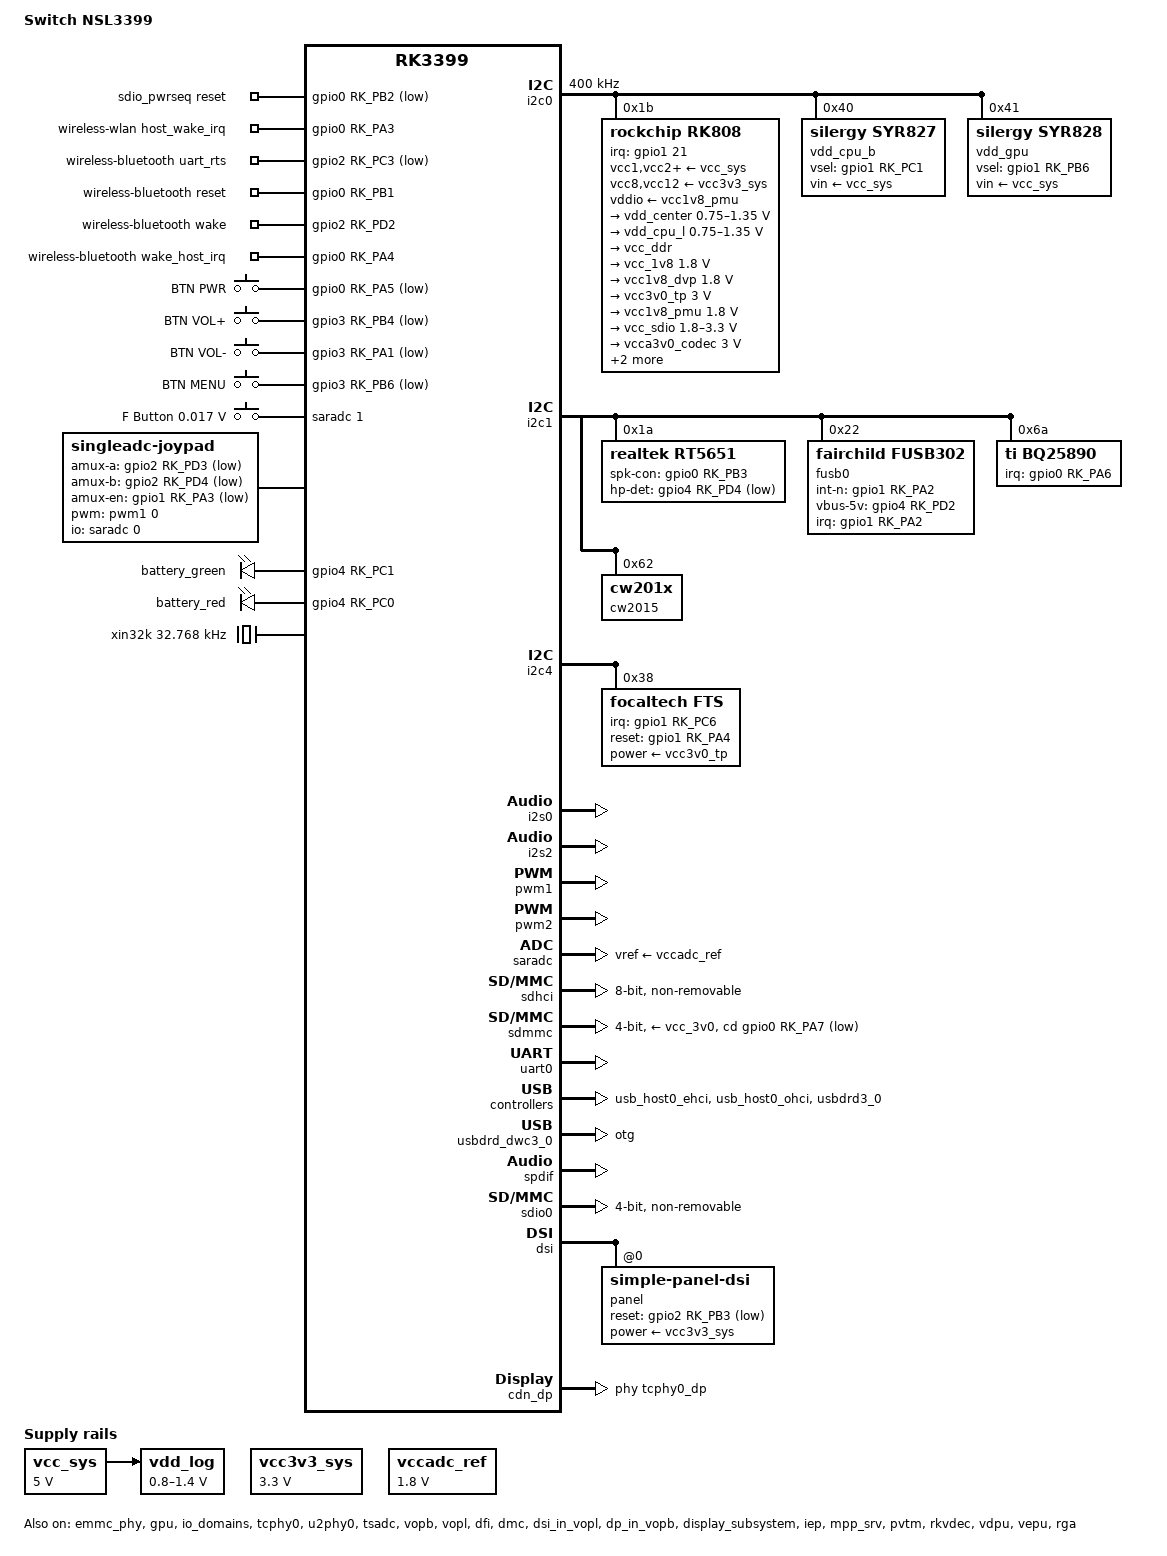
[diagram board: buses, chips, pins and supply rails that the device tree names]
// SPDX-License-Identifier: (GPL-2.0+ OR MIT)
/*
 * Copyright (c) 2017 Fuzhou Rockchip Electronics Co., Ltd.
 * Copyright (c) 2018 Akash Gajjar <Akash_Gajjar@mentor.com>
 * Copyright (c) 2022 Maya Matuszczyk <maccraft123mc@gmail.com>
 */


/dts-v1/;
#include <dt-bindings/soc/rockchip-io-domain.h>
#include <dt-bindings/pwm/pwm.h>
#include <dt-bindings/input/input.h>
#include "rk3399.dtsi"
#include "rk3399-linux.dtsi"
#include "rk3399-opp.dtsi"

/ {
	model = "Switch NSL3399";
	compatible = "Switch,nsl3399", "rockchip,rk3399";

	aliases {
		mmc0 = &sdmmc;
		mmc1 = &sdhci;
	};

	chosen {
		bootargs = "earlycon=uart8250,mmio32,0xff1a0000 console=ttyFIQ0 coherent_pool=1m";
	};

	ramoops_mem: ramoops_mem {
		reg = <0x0 0x110000 0x0 0xf0000>;
		reg-names = "ramoops_mem";
	};

	ramoops {
		compatible = "ramoops";
		record-size = <0x0 0x20000>;
		console-size = <0x0 0x80000>;
		ftrace-size = <0x0 0x00000>;
		pmsg-size = <0x0 0x50000>;
		memory-region = <&ramoops_mem>;
	};

	reserved-memory {
		#address-cells = <2>;
		#size-cells = <2>;
		ranges;

		drm_logo: drm-logo@00000000 {
			compatible = "rockchip,drm-logo";
			reg = <0x0 0x0 0x0 0x0>;
		};

		stb_devinfo: stb-devinfo@00000000 {
			compatible = "rockchip,stb-devinfo";
			reg = <0x0 0x0 0x0 0x0>;
		};
	};

	fiq_debugger: fiq-debugger {
		compatible = "rockchip,fiq-debugger";
		rockchip,serial-id = <2>;
		rockchip,signal-irq = <182>;
		rockchip,wake-irq = <0>;
		rockchip,irq-mode-enable = <1>;  /* If enable uart uses irq instead of fiq */
		rockchip,baudrate = <1500000>;  /* Only 115200 and 1500000 */
		pinctrl-names = "default";
		pinctrl-0 = <&uart2c_xfer>;
		status = "okay";
	};

	rga: rga@ff680000 {
		compatible = "rockchip,rga2";
		dev_mode = <1>;
		reg = <0x0 0xff680000 0x0 0x1000>;
		interrupts = <GIC_SPI 55 IRQ_TYPE_LEVEL_HIGH 0>;
		clocks = <&cru ACLK_RGA>, <&cru HCLK_RGA>, <&cru SCLK_RGA_CORE>;
		clock-names = "aclk_rga", "hclk_rga", "clk_rga";
		power-domains = <&power RK3399_PD_RGA>;
		status = "okay";
	};

	sdio_pwrseq: sdio-pwrseq {
		compatible = "mmc-pwrseq-simple";
		clocks = <&rk808 1>;
		clock-names = "ext_clock";
		pinctrl-names = "default";
		pinctrl-0 = <&wifi_enable_h>;

		/*
		 * On the module itself this is one of these (depending
		 * on the actual card populated):
		 * - SDIO_RESET_L_WL_REG_ON
		 * - PDN (power down when low)
		 */
		reset-gpios = <&gpio0 RK_PB2 GPIO_ACTIVE_LOW>; /* GPIO0_B2 */
	};

	wireless-wlan {
		compatible = "wlan-platdata";
		rockchip,grf = <&grf>;
		wifi_chip_type = "ap6354";
		sdio_vref = <1800>;
		WIFI,host_wake_irq = <&gpio0 RK_PA3 GPIO_ACTIVE_HIGH>; /* GPIO0_a3 */
		status = "okay";
	};

	wireless-bluetooth {
		compatible = "bluetooth-platdata";
		clocks = <&rk808 1>;
		clock-names = "ext_clock";
		//wifi-bt-power-toggle;
		uart_rts_gpios = <&gpio2 RK_PC3 GPIO_ACTIVE_LOW>; /* GPIO2_C3 */
		pinctrl-names = "default", "rts_gpio";
		pinctrl-0 = <&uart0_rts>;
		pinctrl-1 = <&uart0_gpios>;
		//BT,power_gpio  = <&gpio3 RK_PC0 GPIO_ACTIVE_HIGH>; /* GPIOx_xx */
		BT,reset_gpio    = <&gpio0 RK_PB1 GPIO_ACTIVE_HIGH>; /* GPIO0_B1 */
		BT,wake_gpio     = <&gpio2 RK_PD2 GPIO_ACTIVE_HIGH>; /* GPIO2_D2 */
		BT,wake_host_irq = <&gpio0 RK_PA4 GPIO_ACTIVE_HIGH>; /* GPIO0_A4 */
		status = "okay";
	};

	dp_sound: dp-sound {
		status = "okay";
		compatible = "rockchip,cdndp-sound";
		rockchip,cpu = <&spdif>;
		rockchip,codec = <&cdn_dp 1>;
	};

	sound-ext-card {
		status = "disabled";
	};

	/* first 64k(0xff8c0000~0xff8d0000) for ddr and suspend */
	iram: sram@ff8d0000 {
		compatible = "mmio-sram";
		reg = <0x0 0xff8d0000 0x0 0x20000>; /* 128k */
	};

	volume-keys {
		compatible = "gpio-keys";
		autorepeat;
		pinctrl-names = "default";
		pinctrl-0 = <&vol_pwr_btn>;

		sw1 {
			debounce-interval = <100>;
			gpios = <&gpio0 RK_PA5 GPIO_ACTIVE_LOW>;
			label = "BTN PWR";
			linux,code = <KEY_POWER>;
			wakeup-source;
		};
		sw2 {
			label = "BTN VOL+";
			linux,code = <KEY_VOLUMEUP>;
			gpios = <&gpio3 RK_PB4 GPIO_ACTIVE_LOW>;
		};
		sw3 {
			label = "BTN VOL-";
			linux,code = <KEY_VOLUMEDOWN>;
			gpios = <&gpio3 RK_PA1 GPIO_ACTIVE_LOW>;
		};
		sw4 {
			label = "BTN MENU";
			linux,code = <KEY_MENU>;
			gpios = <&gpio3 RK_PB6 GPIO_ACTIVE_LOW>;
		};
	};

	adc-keys {
		compatible = "adc-keys";
		io-channels = <&saradc 1>;
		io-channel-names = "buttons";
		keyup-threshold-microvolt = <1800000>;
		poll-interval = <100>;

		home-key {
			linux,code = <BTN_MODE>;
			label = "F Button";
			press-threshold-microvolt = <17000>;
		};
	};

	joypad: singleadc-joypad {
		compatible = "singleadc-joypad";

		pwms = <&pwm1 0 200000000 0>;
		pwm-names = "enable";
		rumble-boost-weak = <0x0000>;
		rumble-boost-strong = <0x0000>;

		joypad-name = "retrogame_joypad";
		joypad-product = <0x1101>;
		joypad-revision = <0x0100>;

		status = "okay";

		/* gpio pincontrol setup */
		pinctrl-names = "default";
		pinctrl-0 = <&btn_pins>;

		/* Analog mux define */
		io-channel-names = "amux_adc";
		io-channels = <&saradc 0>;

		/* adc mux channel count */
		amux-count = <4>;
		/* adc mux select(a,b) gpio */
		amux-a-gpios = <&gpio2 RK_PD3 GPIO_ACTIVE_LOW>;
		amux-b-gpios = <&gpio2 RK_PD4 GPIO_ACTIVE_LOW>;
		/* adc mux enable gpio */
		amux-en-gpios = <&gpio1 RK_PA3 GPIO_ACTIVE_LOW>;

		/* adc calculate scale */
		button-adc-scale = <2>;

		/* adc deadzone range  */
		button-adc-deadzone = <64>;

		/*
		  specifies fuzz value that is used to filter noise from
		  the event stream.
		*/
		button-adc-fuzz = <32>;
		button-adc-flat = <32>;

		/*
		  Analog Stick data tuning value(precent)
		  p = positive direction, n = negative direction
		  report value = (real_adc_data * tuning_value) / 100
		*/
		abs_x-p-tuning = <300>;
		abs_x-n-tuning = <300>;

		abs_y-p-tuning = <300>;
		abs_y-n-tuning = <300>;

		abs_rx-p-tuning = <300>;
		abs_rx-n-tuning = <300>;

		abs_ry-p-tuning = <300>;
		abs_ry-n-tuning = <300>;

		/* poll device interval (ms), adc read interval */
		poll-interval = <10>;

		/* required for SW3399(invert) */
		invert-absx;
		invert-absy;

		/* gpio button auto repeat set value : default disable */
		/*
			autorepeat;
		*/
		sw1 {
		        gpios = <&gpio3 RK_PB0 GPIO_ACTIVE_LOW>;
		        label = "GPIO DPAD-UP";
		        linux,code = <BTN_DPAD_UP>;
		};
		sw2 {
		        gpios = <&gpio3 RK_PB2 GPIO_ACTIVE_LOW>;
		        label = "GPIO DPAD-DOWN";
		        linux,code = <BTN_DPAD_DOWN>;
		};
		sw3 {
		        gpios = <&gpio3 RK_PC1 GPIO_ACTIVE_LOW>;
		        label = "GPIO DPAD-LEFT";
		        linux,code = <BTN_DPAD_LEFT>;
		};
		sw4 {
		        gpios = <&gpio3 RK_PB7 GPIO_ACTIVE_LOW>;
		        label = "GPIO DPAD-RIGHT";
		        linux,code = <BTN_DPAD_RIGHT>;
		};
		sw5 {
		        gpios = <&gpio3 RK_PB1 GPIO_ACTIVE_LOW>;
		        label = "GPIO KEY BTN-A";
		        linux,code = <BTN_EAST>;
		};
		sw6 {
		        gpios = <&gpio3 RK_PA2 GPIO_ACTIVE_LOW>;
		        label = "GPIO BTN-B";
		        linux,code = <BTN_SOUTH>;
		};
		sw7 {
		        gpios = <&gpio3 RK_PA6 GPIO_ACTIVE_LOW>;
		        label = "GPIO BTN-X";
		        linux,code = <BTN_NORTH>;
		};
		sw8 {
		        gpios = <&gpio3 RK_PA7 GPIO_ACTIVE_LOW>;
		        label = "GPIO BTN-Y";
		        linux,code = <BTN_WEST>;
		};
		sw9 {
		        gpios = <&gpio3 RK_PA4 GPIO_ACTIVE_LOW>;
		        label = "GPIO BTN_SELECT";
		        linux,code = <BTN_SELECT>;
		};
		sw10 {
		        gpios = <&gpio4 RK_PD1 GPIO_ACTIVE_LOW>;
		        label = "GPIO BTN_START";
		        linux,code = <BTN_START>;
		};
		sw11 {
		        gpios = <&gpio3 RK_PA0 GPIO_ACTIVE_LOW>;
		        label = "GPIO BTN_TL";
		        linux,code = <BTN_TL>;
		};
		sw12 {
		        gpios = <&gpio3 RK_PB3 GPIO_ACTIVE_LOW>;
		        label = "GPIO BTN_TR";
		        linux,code = <BTN_TR>;
		};
		sw13 {
		        gpios = <&gpio3 RK_PA5 GPIO_ACTIVE_LOW>;
		        label = "GPIO BTN_TL2";
		        linux,code = <BTN_TL2>;
		};
		sw14 {
		        gpios = <&gpio3 RK_PC0 GPIO_ACTIVE_LOW>;
		        label = "GPIO BTN_TR2";
		        linux,code = <BTN_TR2>;
		};
		sw15 {
		        gpios = <&gpio1 RK_PC2 GPIO_ACTIVE_LOW>;
		        label = "GPIO BTN_THUMBL";
		        linux,code = <BTN_THUMBL>;
		};
		sw16 {
		        gpios = <&gpio0 RK_PA1 GPIO_ACTIVE_LOW>;
		        label = "GPIO BTN_THUMBR";
		        linux,code = <BTN_THUMBR>;
		};
	};

	leds: gpio-leds {
			compatible = "gpio-leds";
			pinctrl-names = "default";
			pinctrl-0 =<&leds_gpio>;

			led@1 {
					gpios = <&gpio4 RK_PC1 GPIO_ACTIVE_HIGH>;
					label = "battery_green";
					default-state= "on";
				//	retain-state-suspended;
			};

			led@2 {
					gpios = <&gpio4 RK_PC0 GPIO_ACTIVE_HIGH>;
					label = "battery_red";
				//	retain-state-suspended;
			};

	};
	
	rt5651-sound {
		compatible = "simple-audio-card";
		simple-audio-card,name = "rockchip,rt5651-codec";
		simple-audio-card,format = "i2s";
		simple-audio-card,mclk-fs = <256>;

		simple-audio-card,widgets =
			"Microphone", "Mic Jack",
			"Headphone", "Headphones";
		simple-audio-card,routing =
			"Mic Jack", "MICBIAS1",
			"IN1P", "Mic Jack",
			"Headphone Jack", "HPOL",
			"Headphone Jack", "HPOR";
		simple-audio-card,cpu {
			sound-dai = <&i2s0>;
		};
		simple-audio-card,codec {
			sound-dai = <&rt5651>;
		};
	};

	xin32k: xin32k {
		compatible = "fixed-clock";
		clock-frequency = <32768>;
		clock-output-names = "xin32k";
		#clock-cells = <0>;
	};

	vcc_sys: vcc5v0-sys {
		compatible = "regulator-fixed";
		regulator-name = "vcc_sys";
		regulator-always-on;
		regulator-boot-on;
		regulator-min-microvolt = <5000000>;
		regulator-max-microvolt = <5000000>;
	};

	vcc3v3_sys: vcc3v3-sys {
		compatible = "regulator-fixed";
		regulator-name = "vcc3v3_sys";
		regulator-always-on;
		regulator-boot-on;
		regulator-min-microvolt = <3300000>;
		regulator-max-microvolt = <3300000>;
	};

	vccadc_ref: vccadc-ref {
		compatible = "regulator-fixed";
		regulator-name = "vcc1v8_sys";
		regulator-always-on;
		regulator-boot-on;
		regulator-min-microvolt = <1800000>;
		regulator-max-microvolt = <1800000>;
	};

	vdd_log: vdd-log {
		compatible = "pwm-regulator";
		pwms = <&pwm2 0 25000 1>;
		regulator-name = "vdd_log";
		regulator-always-on;
		regulator-boot-on;
		regulator-min-microvolt = <800000>;
		regulator-max-microvolt = <1400000>;
		vin-supply = <&vcc_sys>;
	};
};

&dmac_bus {
	iram = <&iram>;
	rockchip,force-iram;
};

&cpu_l0 {
	cpu-supply = <&vdd_cpu_l>;
};

&cpu_l1 {
	cpu-supply = <&vdd_cpu_l>;
};

&cpu_l2 {
	cpu-supply = <&vdd_cpu_l>;
};

&cpu_l3 {
	cpu-supply = <&vdd_cpu_l>;
};

&cpu_b0 {
	cpu-supply = <&vdd_cpu_b>;
};

&cpu_b1 {
	cpu-supply = <&vdd_cpu_b>;
};

&emmc_phy {
	status = "okay";
};

&gpu {
	mali-supply = <&vdd_gpu>;
	status = "okay";
};

&i2c0 {
	clock-frequency = <400000>;
	i2c-scl-rising-time-ns = <168>;
	i2c-scl-falling-time-ns = <4>;
	status = "okay";

	rk808: pmic@1b {
		compatible = "rockchip,rk808";
		reg = <0x1b>;
		interrupt-parent = <&gpio1>;
		interrupts = <21 IRQ_TYPE_LEVEL_LOW>;
		#clock-cells = <1>;
		//clock-output-names = "xin32k", "rk808-clkout2";
		clock-output-names = "rk808-clkout1", "rk808-clkout2";  //wifi
		pinctrl-names = "default";
		pinctrl-0 = <&pmic_int_l &pmic_dvs2>;
		rockchip,system-power-controller;
		wakeup-source;

		vcc1-supply = <&vcc_sys>;
		vcc2-supply = <&vcc_sys>;
		vcc3-supply = <&vcc_sys>;
		vcc4-supply = <&vcc_sys>;
		vcc6-supply = <&vcc_sys>;
		vcc7-supply = <&vcc_sys>;
		vcc8-supply = <&vcc3v3_sys>;
		vcc9-supply = <&vcc_sys>;
		vcc10-supply = <&vcc_sys>;
		vcc11-supply = <&vcc_sys>;
		vcc12-supply = <&vcc3v3_sys>;
		vddio-supply = <&vcc1v8_pmu>;

		rtc {
			status = "okay";
		};

		regulators {
			vdd_center: DCDC_REG1 {
				regulator-name = "vdd_center";
				regulator-always-on;
				regulator-boot-on;
				regulator-min-microvolt = <750000>;
				regulator-max-microvolt = <1350000>;
				regulator-ramp-delay = <6001>;
				regulator-state-mem {
					regulator-off-in-suspend;
				};
			};

			vdd_cpu_l: DCDC_REG2 {
				regulator-name = "vdd_cpu_l";
				regulator-always-on;
				regulator-boot-on;
				regulator-min-microvolt = <750000>;
				regulator-max-microvolt = <1350000>;
				regulator-ramp-delay = <6001>;
				regulator-state-mem {
					regulator-off-in-suspend;
				};
			};

			vcc_ddr: DCDC_REG3 {
				regulator-name = "vcc_ddr";
				regulator-always-on;
				regulator-boot-on;
				regulator-state-mem {
					regulator-on-in-suspend;
				};
			};

			vcc_1v8: DCDC_REG4 {
				regulator-name = "vcc_1v8";
				regulator-always-on;
				regulator-boot-on;
				regulator-min-microvolt = <1800000>;
				regulator-max-microvolt = <1800000>;
				regulator-state-mem {
					regulator-on-in-suspend;
					regulator-suspend-microvolt = <1800000>;
				};
			};

			vcc1v8_dvp: LDO_REG1 {
				regulator-name = "vcc1v8_dvp";
				regulator-always-on;
				regulator-boot-on;
				regulator-min-microvolt = <1800000>;
				regulator-max-microvolt = <1800000>;
				regulator-state-mem {
					//regulator-off-in-suspend;
					regulator-on-in-suspend;
					regulator-suspend-microvolt = <1800000>;
				};
			};

			vcc3v0_tp: LDO_REG2 {
				regulator-name = "vcc3v0_tp";
				regulator-always-on;
				regulator-boot-on;
				regulator-min-microvolt = <3000000>;
				regulator-max-microvolt = <3000000>;
				regulator-state-mem {
					regulator-on-in-suspend;
					regulator-suspend-microvolt = <3000000>;
				};
			};

			vcc1v8_pmu: LDO_REG3 {
				regulator-name = "vcc1v8_pmu";
				regulator-always-on;
				regulator-boot-on;
				regulator-min-microvolt = <1800000>;
				regulator-max-microvolt = <1800000>;
				regulator-state-mem {
					regulator-on-in-suspend;
					regulator-suspend-microvolt = <1800000>;
				};
			};

			vcc_sdio: LDO_REG4 {
				regulator-name = "vcc_sdio";
				regulator-always-on;
				regulator-boot-on;
				regulator-min-microvolt = <1800000>;
				regulator-max-microvolt = <3300000>;
				regulator-state-mem {
					regulator-on-in-suspend;
					regulator-suspend-microvolt = <3300000>;
				};
			};

			vcca3v0_codec: LDO_REG5 {
				regulator-name = "vcca3v0_codec";
				regulator-always-on;
				regulator-boot-on;
				regulator-min-microvolt = <3000000>;
				regulator-max-microvolt = <3000000>;
				regulator-state-mem {
					regulator-off-in-suspend;
				};
			};

			vcc_1v5: LDO_REG6 {
				regulator-name = "vcc_1v5";
				regulator-always-on;
				regulator-boot-on;
				regulator-min-microvolt = <1500000>;
				regulator-max-microvolt = <1500000>;
				regulator-state-mem {
					regulator-on-in-suspend;
					regulator-suspend-microvolt = <1500000>;
				};
			};

			vcca1v8_codec: LDO_REG7 {
				regulator-name = "vcca1v8_codec";
				regulator-always-on;
				regulator-boot-on;
				regulator-min-microvolt = <1800000>;
				regulator-max-microvolt = <1800000>;
				regulator-state-mem {
					regulator-off-in-suspend;
				};
			};

			vcc_3v0: LDO_REG8 {
				regulator-name = "vcc_3v0";
				regulator-always-on;
				regulator-boot-on;
				regulator-min-microvolt = <3000000>;
				regulator-max-microvolt = <3000000>;
				regulator-state-mem {
					regulator-on-in-suspend;
					regulator-suspend-microvolt = <3000000>;
				};
			};

			vcc3v3_s3: vcc_lan: SWITCH_REG1 {
				regulator-name = "vcc3v3_s3";
				regulator-always-on;
				regulator-boot-on;
				regulator-state-mem {
					regulator-off-in-suspend;
				};
			};

			vcc3v3_s0: SWITCH_REG2 {
				regulator-name = "vcc3v3_s0";
				regulator-always-on;
				regulator-boot-on;
				regulator-state-mem {
					regulator-off-in-suspend;
				};
			};
		};
	};

    vdd_cpu_b: syr827@40 {
            compatible = "silergy,syr827";
            reg = <0x40>;
            vin-supply = <&vcc_sys>;
            regulator-compatible = "fan53555-reg";
            pinctrl-names = "default";
            pinctrl-0 = <&vsel1_gpio>;
            vsel-gpios = <&gpio1 RK_PC1 GPIO_ACTIVE_HIGH>;
            regulator-name = "vdd_cpu_b";
            regulator-min-microvolt = <712500>;
            regulator-max-microvolt = <1500000>;
            regulator-ramp-delay = <1000>;
            fcs,suspend-voltage-selector = <1>;
            regulator-always-on;
            regulator-boot-on;
            regulator-initial-state = <3>;

            regulator-state-mem {
                regulator-off-in-suspend;
            };
    };

        vdd_gpu: syr828@41 {
				compatible = "silergy,syr828";
				reg = <0x41>;
				vin-supply = <&vcc_sys>;
				regulator-compatible = "fan53555-reg";
				pinctrl-names = "default";
				pinctrl-0 = <&vsel2_gpio>;
				vsel-gpios = <&gpio1 RK_PB6 GPIO_ACTIVE_HIGH>;
				regulator-name = "vdd_gpu";
                regulator-min-microvolt = <712500>;
                regulator-max-microvolt = <1500000>;
                regulator-ramp-delay = <1000>;
                fcs,suspend-voltage-selector = <1>;
                regulator-always-on;
                regulator-boot-on;

				regulator-state-mem {
					regulator-off-in-suspend;
		};
	};

};

&i2c1 {
	status = "okay";

	rt5651: rt5651@1a {
		compatible = "realtek,rt5651";
		status = "okay";
		reg = <0x1a>;
		clocks = <&cru SCLK_I2S_8CH_OUT>;
		clock-names = "mclk";
		spk-con-gpio = <&gpio0 RK_PB3 GPIO_ACTIVE_HIGH>;
		hp-det-gpio = <&gpio4 RK_PD4 GPIO_ACTIVE_LOW>;
		#sound-dai-cells = <0>;
	};

	fusb0: fusb30x@22 {
		compatible = "fairchild,fusb302";
		status = "okay";
		reg = <0x22>;
		interrupt-parent = <&gpio1>;
		interrupts = <RK_PA2 IRQ_TYPE_LEVEL_LOW>;
		pinctrl-names = "default";
		pinctrl-0 = <&fusb0_int>;
		int-n-gpios = <&gpio1 RK_PA2 GPIO_ACTIVE_HIGH>;
		vbus-5v-gpios = <&gpio4 RK_PD2 GPIO_ACTIVE_HIGH>;

		usb_con: connector {
			compatible = "usb-c-connector";
			label = "USB-C";
			data-role = "dual";
			power-role = "dual";
			try-power-role = "sink";
			sink-pdos =
				<PDO_FIXED(5000, 3000, PDO_FIXED_USB_COMM)
				 PDO_FIXED(9000, 3000, PDO_FIXED_USB_COMM)
				 PDO_FIXED(12000, 3000, PDO_FIXED_USB_COMM)>;
			source-pdos =
				<PDO_FIXED(5000, 2400, PDO_FIXED_USB_COMM)>;
			op-sink-microwatt = <1000000>;
			typec-altmodes = <0xff01 1 0x001c0c00 1>;
		};
	};

	bq25890: charger@6a {
		status = "okay";
		compatible = "ti,bq25890";
		reg = <0x6a>;
		extcon = <&fusb0>;

		pinctrl-names = "default";
		pinctrl-0 = <&charger_ok>;
		interrupt-parent = <&gpio0>;
		interrupts = <RK_PA6 IRQ_TYPE_EDGE_FALLING>;

		ti,battery-regulation-voltage = <4200000>; /* 4.2V */
		ti,charge-current = <3000000>; /* 3A */
		ti,termination-current = <50000>;  /* 50mA */
		ti,precharge-current = <130000>; /* 130mA */
		ti,minimum-sys-voltage = <3700000>; /* 3.7V */
		ti,boost-voltage = <5000000>; /* 5V */
		ti,boost-max-current = <2400000>; /* 2400mA */
	};

	cw2015: cw201x@62 {
		status = "okay";
		compatible = "cw201x";
		reg = <0x62>;
		bat_config_info = <
				   0x15 0x7E 0x77 0x6C 0x6A 0x68 0x65 0x63
				   0x61 0x61 0x61 0x5E 0x58 0x52 0x48 0x36
				   0x2E 0x2A 0x2D 0x33 0x3E 0x4A 0x55 0x5F
				   0x64 0x4F 0x06 0x66 0x06 0x0D 0x3A 0x48
				   0x4C 0x4D 0x51 0x52 0x3D 0x19 0x64 0x10
				   0x02 0x14 0x5B 0x84 0x8E 0x90 0x90 0x56
				   0x81 0x8B 0x92 0x92 0x80 0x50 0x8E 0xCB
				   0x2F 0x00 0x64 0xA5 0xB5 0x05 0xC0 0x11
		>;
		monitor_sec = <5>;
		virtual_power = <0>;
		design_capacity = <5800>;
	};

};

&i2c4 {
	i2c-scl-rising-time-ns = <475>;
	i2c-scl-falling-time-ns = <26>;
	status = "okay";

	focaltech@38 {
		status = "okay";
		compatible = "focaltech,fts";
		reg = <0x38>;
		power-supply = <&vcc3v0_tp>;
		pinctrl-names = "default";
		pinctrl-0 = <&touch_gpio>;
		focaltech,irq-gpio = <&gpio1 RK_PC6 IRQ_TYPE_LEVEL_LOW>;
		focaltech,reset-gpio = <&gpio1 RK_PA4 GPIO_ACTIVE_HIGH>;
		focaltech,max-touch-number = <10>;
		focaltech,display-coords =  <0 0 1080 1920>;
		wakeup-source;
	};

};

&i2s0 {
	rockchip,playback-channels = <8>;
	rockchip,capture-channels = <8>;
	status = "okay";
};

&i2s2 {
	status = "okay";
};

&io_domains {
	status = "okay";

	bt656-supply = <&vcc_1v8>;				/* bt656_gpio2ab_ms */
	audio-supply = <&vcca1v8_codec>;		/* audio_gpio3d4a_ms */
	sdmmc-supply = <&vcc_sdio>;				/* sdmmc_gpio4b_ms */
	gpio1830-supply = <&vcc_3v0>;			/* gpio1833_gpio4cd_ms */
};

&pmu_io_domains {
	pmu1830-supply = <&vcc_1v8>;
	status = "okay";
};

&pwm1 {
	status = "okay";
	label = "rumble-pwm";
};

&pwm2 {
	status = "okay";
	pinctrl-names = "active";
	pinctrl-0 = <&pwm2_pin_pull_down>;
};

&saradc {
	vref-supply = <&vccadc_ref>;
	status = "okay";
};

&sdhci {
	bus-width = <8>;
	mmc-hs400-1_8v;
	mmc-hs400-enhanced-strobe;
	non-removable;
	supports-emmc;
	status = "okay";
};

&sdmmc {
	bus-width = <4>;
	cap-mmc-highspeed;
	cap-sd-highspeed;
	supports-sd;
	clock-frequency = <150000000>;
	disable-wp;
	sd-uhs-sdr12;
	sd-uhs-sdr25;
	sd-uhs-sdr50;
	sd-uhs-sdr104;
	supports-emmc;
	max-frequency = <150000000>;
	cd-gpios = <&gpio0 RK_PA7 GPIO_ACTIVE_LOW>;
	pinctrl-names = "default";
	pinctrl-0 = <&sdmmc_clk &sdmmc_cmd &sdmmc_cd &sdmmc_bus4>;
	vmmc-supply = <&vcc_3v0>;
	vqmmc-supply = <&vcc_sdio>;
	status = "okay";
};

&tcphy0 {
	extcon = <&fusb0>, <&rtusb0>;
	status = "okay";
};

&u2phy0 {
	status = "okay";
	extcon = <&fusb0>, <&rtusb0>;

	u2phy0_otg: otg-port {
		status = "okay";
	};

	u2phy0_host: host-port {
		status = "okay";
	};
};

&uart0 {
	pinctrl-names = "default";
	pinctrl-0 = <&uart0_xfer &uart0_cts>;
	status = "okay";
};

&uart2 {
	status = "disabled";
};

&tsadc {
	/* tshut mode 0:CRU 1:GPIO */
	rockchip,hw-tshut-mode = <1>;
	/* tshut polarity 0:LOW 1:HIGH */
	rockchip,hw-tshut-polarity = <1>;
	status = "okay";
};

&usb_host0_ehci {
	status = "okay";
};

&usb_host0_ohci {
	status = "okay";
};

&usbdrd3_0 {
	status = "okay";
};

&usbdrd_dwc3_0 {
	status = "okay";
	dr_mode = "otg";
	extcon = <&fusb0>, <&rtusb0>;
};

&vopb {
	status = "okay";
	assigned-clocks = <&cru DCLK_VOP0_DIV>;
	assigned-clock-parents = <&cru PLL_VPLL>;
};

&vopb_mmu {
	status = "okay";
};

&vopl {
	status = "okay";
	assigned-clocks = <&cru DCLK_VOP1_DIV>;
	assigned-clock-parents = <&cru PLL_CPLL>;
};

&vopl_mmu {
	status = "okay";
};

&dfi {
	status = "okay";
};

&dmc {
	status = "okay";
	center-supply = <&vdd_center>;
	upthreshold = <40>;
	downdifferential = <20>;
	system-status-freq = <
		/*system status         freq(KHz)*/
		SYS_STATUS_NORMAL       856000
		SYS_STATUS_REBOOT       416000
		SYS_STATUS_SUSPEND      416000
		SYS_STATUS_VIDEO_1080P  856000
		SYS_STATUS_VIDEO_4K     856000
		SYS_STATUS_VIDEO_4K_10B 856000
		SYS_STATUS_PERFORMANCE  856000
		SYS_STATUS_BOOST        856000
		SYS_STATUS_DUALVIEW     856000
		SYS_STATUS_ISP          856000
	>;
	vop-bw-dmc-freq = <
	/* min_bw(MB/s) max_bw(MB/s) freq(KHz) */
		0       577      416000
		578     99999    856000
	>;
	vop-pn-msch-readlatency = <
	/* plane_number  readlatency */
		0       0
		4       0x20
	>;
	auto-min-freq = <416000>;
	auto-freq-en = <1>;
};

&dmc_opp_table {
	compatible = "operating-points-v2";

	opp-200000000 {
		opp-hz = /bits/ 64 <200000000>;
		opp-microvolt = <900000>;
		status = "disabled";
	};
	opp-300000000 {
		opp-hz = /bits/ 64 <300000000>;
		opp-microvolt = <900000>;
		status = "disabled";
	};
	opp-400000000 {
		opp-hz = /bits/ 64 <400000000>;
		opp-microvolt = <900000>;
		status = "disabled";
	};
	opp-416000000 {
		opp-hz = /bits/ 64 <416000000>;
		opp-microvolt = <1000000>;
	};
	opp-528000000 {
		opp-hz = /bits/ 64 <528000000>;
		opp-microvolt = <900000>;
		status = "disabled";
	};
	opp-600000000 {
		opp-hz = /bits/ 64 <600000000>;
		opp-microvolt = <900000>;
		status = "disabled";
	};
	opp-800000000 {
		opp-hz = /bits/ 64 <800000000>;
		opp-microvolt = <900000>;
		status = "disabled";
	};
	opp-856000000 {
		opp-hz = /bits/ 64 <856000000>;
		opp-microvolt = <1000000>;
	};
};

&dp_sound {
	status = "okay";
};

&spdif {
	status = "okay";
	pinctrl-0 = <&spdif_bus>;
	i2c-scl-rising-time-ns = <450>;
	i2c-scl-falling-time-ns = <15>;
	#sound-dai-cells = <0>;
};

&saradc {
	status = "okay";
};

&sdio0 {
	max-frequency = <100000000>;
	supports-sdio;
	bus-width = <4>;
	disable-wp;
	cap-sd-highspeed;
	cap-sdio-irq;
	keep-power-in-suspend;
	mmc-pwrseq = <&sdio_pwrseq>;
	non-removable;
	num-slots = <1>;
	pinctrl-names = "default";
	pinctrl-0 = <&sdio0_bus4 &sdio0_cmd &sdio0_clk>;
	sd-uhs-sdr104;
	status = "okay";
};

&rockchip_suspend {
	status = "okay";
	rockchip,sleep-debug-en = <1>;
	rockchip,sleep-mode-config = <
		(0
		| RKPM_SLP_ARMPD
		| RKPM_SLP_PERILPPD
		| RKPM_SLP_DDR_RET
		| RKPM_SLP_PLLPD
		| RKPM_SLP_CENTER_PD
		| RKPM_SLP_AP_PWROFF
		)
		>;
	rockchip,wakeup-config = <
		(0
		| RKPM_GPIO_WKUP_EN
		| RKPM_PWM_WKUP_EN
		| RKPM_USB_WKUP_EN
		| RKPM_USB_LINESTATE_WKUP_EN
		)
		>;
		rockchip,pwm-regulator-config = <
		(0
		| PWM2_REGULATOR_EN
		)
		>;
		rockchip,power-ctrl =
		<&gpio1 17 GPIO_ACTIVE_HIGH>,
		<&gpio1 14 GPIO_ACTIVE_HIGH>;
};

&dsi {
	status = "okay";

	status = "okay";

	panel@0 {
		compatible ="simple-panel-dsi";
		status = "okay";
		reg = <0>;
		power-supply = <&vcc3v3_sys>;
		reset-delay-ms = <20>;
		init-delay-ms = <20>;
		enable-delay-ms = <120>;
		prepare-delay-ms = <120>;
		pinctrl-names = "default";
		pinctrl-0 = <&lcd_reset_gpio>;
		reset-gpios = <&gpio2 RK_PB3 GPIO_ACTIVE_LOW>;
		dsi-lanes = <4>;
		width-mm = <68>;
		height-mm = <121>;

		dsi,flags = <(MIPI_DSI_MODE_VIDEO | MIPI_DSI_MODE_VIDEO_BURST)>;
		dsi,format = <MIPI_DSI_FMT_RGB888>;
		dsi,lanes = <4>;

		display-timings {
			timing {
				clock-frequency = <135000000>;
				hactive = <1080>;
				vactive = <1920>;
				hfront-porch = <26>;
				hsync-len = <2>;
				hback-porch = <36>;
				vfront-porch = <8>;
				vsync-len = <4>;
				vback-porch = <16>;
				hsync-active = <0>;
				vsync-active = <0>;
				de-active = <0>;
				pixelclk-active = <0>;
			};
		};

		panel-init-sequence = [
			15 00 02 FE 0E
			15 00 02 4B 00
			15 00 02 4C 0F
			15 00 02 4D 20
			15 00 02 4E 40
			15 00 02 4F 60
			15 00 02 50 A0
			15 00 02 51 C0
			15 00 02 52 E0
			15 00 02 53 FF

			15 00 02 FE 0D
			15 00 02 18 08
			15 00 02 42 01
			15 00 02 08 41
			15 00 02 46 02
			15 00 02 72 09

			15 00 02 FE 0A
			15 00 02 24 17
			15 00 02 04 07
			15 00 02 1A 0C
			15 00 02 0F 44

			15 00 02 FE 04
			15 00 02 00 0C
			15 00 02 0A E6
			15 00 02 0B 8C
			15 00 02 1A 12
			15 00 02 29 93
			15 00 02 2A 93
			15 00 02 2F 02
			15 00 02 31 02
			15 00 02 33 05
			15 00 02 37 2D
			15 00 02 38 3D
			15 00 02 3A 1E
			15 00 02 3B 1E
			15 00 02 3D 27
			15 00 02 3F 80
			15 00 02 40 40
			15 00 02 41 E0
			15 00 02 4F 3F
			15 00 02 50 1E

			15 00 02 FE 06
			15 00 02 00 CC
			15 00 02 05 05
			15 00 02 07 A2
			15 00 02 08 CC
			15 00 02 0D 03
			15 00 02 0F A2
			15 00 02 32 CC
			15 00 02 37 05
			15 00 02 39 83
			15 00 02 3A CC
			15 00 02 41 04
			15 00 02 43 83
			15 00 02 44 CC
			15 00 02 49 05
			15 00 02 4B A2
			15 00 02 4C CC
			15 00 02 51 03
			15 00 02 4B A2
			15 00 02 4C CC
			15 00 02 51 03
			15 00 02 53 A2
			15 00 02 75 CC
			15 00 02 7A 03
			15 00 02 7C 83
			15 00 02 7D CC
			15 00 02 82 02
			15 00 02 84 83
			15 00 02 85 EC
			15 00 02 86 0F
			15 00 02 87 FF
			15 00 02 88 00
			15 00 02 8A 02
			15 00 02 8C A2
			15 00 02 8D EA
			15 00 02 8E 01
			15 00 02 8F E8
			15 00 02 90 0A
			15 00 02 92 06
			15 00 02 93 A0
			15 00 02 94 A8
			15 00 02 95 EC
			15 00 02 96 0F
			15 00 02 97 FF
			15 00 02 98 00
			15 00 02 9A 02
			15 00 02 9C A2
			15 00 02 AC 04
			15 00 02 B1 12
			15 00 02 B2 17
			15 00 02 B3 17
			15 00 02 B4 17
			15 00 02 B5 17
			15 00 02 B6 11
			15 00 02 B7 08
			15 00 02 B8 09
			15 00 02 B9 06
			15 00 02 BA 07
			15 00 02 BB 17
			15 00 02 BC 17
			15 00 02 BD 17
			15 00 02 BE 17
			15 00 02 BF 17
			15 00 02 C0 17
			15 00 02 C1 17
			15 00 02 C2 17
			15 00 02 C3 17
			15 00 02 C4 0F
			15 00 02 C5 0E
			15 00 02 C6 00
			15 00 02 C7 01
			15 00 02 C8 10

			15 00 02 FE 00
			15 00 02 C2 08
			15 00 02 35 00
			39 00 03 44 03 80

			15 00 02 51 FF

			05 78 01 11
			05 64 01 29
			
        ];

        panel-exit-sequence = [
            05 00 01 28
            05 28 01 10
        ];

		display-timings {
			native-mode = <&timing0>;
			timing0: timing0{
				clock-frequency = <135000000>;
				hactive = <1080>;
				vactive = <1920>;
				hback-porch = <36>;
				hfront-porch = <26>;
				vback-porch = <16>;
				vfront-porch = <8>;
				hsync-len = <2>;
				vsync-len = <4>;
				hsync-active = <0>;
				vsync-active = <0>;
				de-active = <0>;
				pixelclk-active = <0>;
			};
        };
	};
};

&cdn_dp {
	status = "okay";
	extcon = <&fusb0>, <0>, <&rtusb0>;
	phys = <&tcphy0_dp>;
};

&dsi_in_vopl {
	status = "okay";
};

&dp_in_vopb {
	status = "okay";
};

&display_subsystem {
	status = "okay";

	ports = <&vopb_out>, <&vopl_out>;
	logo-memory-region = <&drm_logo>;

	route {
		route_dsi: route-dsi {
			status = "okay";
			logo,uboot = "logo.bmp";
			logo,kernel = "logo_kernel.bmp";
			logo,mode = "center";
			charge_logo,mode = "center";
			connect = <&vopl_out_dsi>;
		};

		route_dp: route-dp {
			status = "disabled";
			logo,uboot = "logo.bmp";
			logo,kernel = "logo_kernel.bmp";
			logo,mode = "center";
			charge_logo,mode = "center";
			connect = <&vopb_out_dp>;
		};
	};
};

&iep {
	status = "okay";
};

&iep_mmu {
	status = "okay";
};

&mpp_srv {
	status = "okay";
};

&pvtm {
	status = "okay";
};

&rkvdec {
	status = "okay";
	/* 0 means ion, 1 means drm */
	//allocator = <0>;
};

&rkvdec_mmu {
	status = "okay";
};

&vdpu {
	status = "okay";
};

&vepu {
	status = "okay";
};

&vpu_mmu {
	status = "okay";
};

&pinctrl {
	pcfg_pull_up_12ma: pcfg-pull-up-12ma {
		drive-strength = <12>;
		bias-pull-up;
	};

	charger {
		charger_ok: charger_ok {
			rockchip,pins = <0 RK_PA6 RK_FUNC_GPIO &pcfg_pull_up>;
		};
	};

	fusb302x {
		fusb0_int: fusb0-int {
			rockchip,pins = <1 RK_PA2 RK_FUNC_GPIO &pcfg_pull_up>,
							<4 RK_PD2 RK_FUNC_GPIO &pcfg_pull_none>;
		};
	};

	pmic {
		pmic_int_l: pmic-int-l {
			rockchip,pins = <1 RK_PC5 RK_FUNC_GPIO &pcfg_pull_up>;
		};

		pmic_dvs2: pmic-dvs2 {
			rockchip,pins = <1 RK_PA5 RK_FUNC_GPIO &pcfg_pull_down>;
		};

		vsel1_gpio: vsel1-gpio {
			rockchip,pins = <1 RK_PC1 RK_FUNC_GPIO &pcfg_pull_down>;
		};

		vsel2_gpio: vsel2-gpio {
			rockchip,pins = <1 RK_PB6 RK_FUNC_GPIO &pcfg_pull_down>;
		};
	};

	sdio-pwrseq {
		wifi_enable_h: wifi-enable-h {
			rockchip,pins = <0 RK_PB2 RK_FUNC_GPIO &pcfg_pull_none>;
		};
	};

	wireless-bluetooth {
		uart0_gpios: uart0-gpios {
			rockchip,pins = <2 RK_PC3 RK_FUNC_GPIO &pcfg_pull_none>;
		};
	};

	gpio-leds {
		leds_gpio: leds-gpio {
					rockchip,pins =
							<4 RK_PC0 RK_FUNC_GPIO &pcfg_pull_up_12ma>,
							<4 RK_PC1 RK_FUNC_GPIO &pcfg_pull_up_12ma>;
			};
	};

	lcd-panel {
		lcd_reset_gpio: lcd-reset-gpio {
			rockchip,pins = <2 RK_PB3 RK_FUNC_GPIO &pcfg_pull_none>;
		};
		touch_gpio: touch-gpio {
			rockchip,pins = <1 RK_PC6 RK_FUNC_GPIO &pcfg_pull_none>,
							<1 RK_PA4 RK_FUNC_GPIO &pcfg_pull_up>;
		};
	};

	btns {
		btn_pins: btn-pins {
			rockchip,pins = 
					<2 RK_PD3 RK_FUNC_GPIO &pcfg_pull_up>,
					<2 RK_PD4 RK_FUNC_GPIO &pcfg_pull_up>,
					<1 RK_PA3 RK_FUNC_GPIO &pcfg_pull_up>,
					<3 RK_PB0 RK_FUNC_GPIO &pcfg_pull_up>,
					<3 RK_PB2 RK_FUNC_GPIO &pcfg_pull_up>,
					<3 RK_PC1 RK_FUNC_GPIO &pcfg_pull_up>,
					<3 RK_PB7 RK_FUNC_GPIO &pcfg_pull_up>,
					<3 RK_PB1 RK_FUNC_GPIO &pcfg_pull_up>,
					<3 RK_PA2 RK_FUNC_GPIO &pcfg_pull_up>,
					<3 RK_PA6 RK_FUNC_GPIO &pcfg_pull_up>,
					<3 RK_PA7 RK_FUNC_GPIO &pcfg_pull_up>,
					<3 RK_PA4 RK_FUNC_GPIO &pcfg_pull_up>,
					<4 RK_PD1 RK_FUNC_GPIO &pcfg_pull_up>,
					<3 RK_PA0 RK_FUNC_GPIO &pcfg_pull_up>,
					<3 RK_PB3 RK_FUNC_GPIO &pcfg_pull_up>,
					<3 RK_PA5 RK_FUNC_GPIO &pcfg_pull_up>,
					<3 RK_PC0 RK_FUNC_GPIO &pcfg_pull_up>,
					<1 RK_PC2 RK_FUNC_GPIO &pcfg_pull_up>,
					<0 RK_PA1 RK_FUNC_GPIO &pcfg_pull_up>;
		};
		vol_pwr_btn: vol-pwr-btn {
			rockchip,pins =
					<0 RK_PA5 RK_FUNC_GPIO &pcfg_pull_up>,
					<3 RK_PB4 RK_FUNC_GPIO &pcfg_pull_up>,
					<3 RK_PA1 RK_FUNC_GPIO &pcfg_pull_up>,
					<3 RK_PB6 RK_FUNC_GPIO &pcfg_pull_up>;
		};
	};
};
